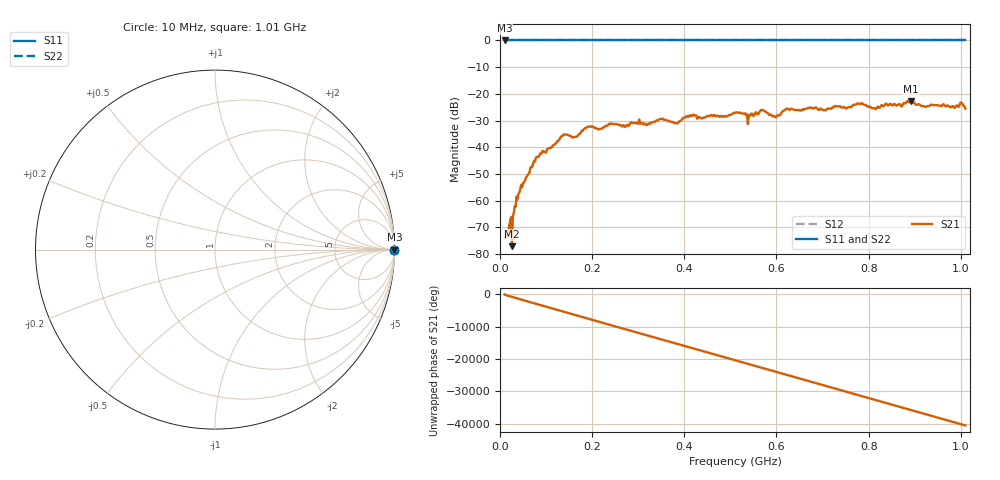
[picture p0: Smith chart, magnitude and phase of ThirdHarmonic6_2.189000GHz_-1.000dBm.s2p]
! 8/17/2025 2:06:14 AM
! C:\ANRITSUVNA\TEMP\TEMP.S2P
! CHANNEL.1
! TR.MEASUREMENT
! RAW.DATA
! RF.CORRECTION.OFF
! AVERAGING.OFF
! IF.BANDWIDTH: 5KHZ
! SWEEPTYPE:  FREQ.SWEEP(Linear)
! Reference Plane Port Info
! PORT:  PORT1  PORT2
! DISTANCE:  0  m  0  m
! TIME:  0  s  0  s
! PHASE.OFFSET:  0  deg.  0  deg.
! LOSS:  0  dB  0  dB
! REF.LOSS:  0  dB  0  dB
! REF.FREQ:  0  Hz  0  Hz
! Power Info
! POWER:  -20  dBm  -20  dBm
! EFF.POWER:  -20  dBm  -20  dBm
! SOURCE.ATTEN:  0  dB  0  dB
! TEST.ATTEN:  0  dB  0  dB
# GHZ S RI R 50.0
! FREQ.GHZ  S11RE  S11IM  S21RE  S21IM  S12RE  S12IM  S22RE  S22IM
!; PortSelection: Port_12
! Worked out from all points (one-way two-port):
!   501 points, 10 MHz to 1.01 GHz, reference 50 ohm
!   highest |S21| = -22.61 dB at 892 MHz (marker M1); lowest = -77.0 dB at 26 MHz (marker M2)
!   lowest |S11| = 0.0 dB at 10 MHz (marker M3)
!   |S11| at or under -10 dB: nowhere
!   |S22| runs from 0.0 to 0.0 dB; largest |S21 - S12| = 1.1
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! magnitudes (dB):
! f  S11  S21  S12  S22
! 10 MHz  0.0  -73.8  0.0  0.0
! 26 MHz  0.0  -77.0  0.0  0.0
! 40 MHz  0.0  -57.4  0.0  0.0
! 78 MHz  0.0  -43.9  0.0  0.0
! 136 MHz  0.0  -35.7  0.0  0.0
! 162 MHz  0.0  -36.1  0.0  0.0
! 178 MHz  0.0  -33.7  0.0  0.0
! 192 MHz  0.0  -32.3  0.0  0.0
! 322 MHz  0.0  -31.2  0.0  0.0
! 344 MHz  0.0  -29.7  0.0  0.0
! 382 MHz  0.0  -30.9  0.0  0.0
! 416 MHz  0.0  -28.3  0.0  0.0
! 510 MHz  0.0  -27.1  0.0  0.0
! 540 MHz  0.0  -27.8  0.0  0.0
! 570 MHz  0.0  -26.0  0.0  0.0
! 596 MHz  0.0  -28.4  0.0  0.0
! 622 MHz  0.0  -25.5  0.0  0.0
! 678 MHz  0.0  -25.2  0.0  0.0
! 844 MHz  0.0  -24.2  0.0  0.0
! 892 MHz  0.0  -22.6  0.0  0.0
! 1.002 GHz  0.0  -23.4  0.0  0.0
! 1.01 GHz  0.0  -25.5  0.0  0.0
